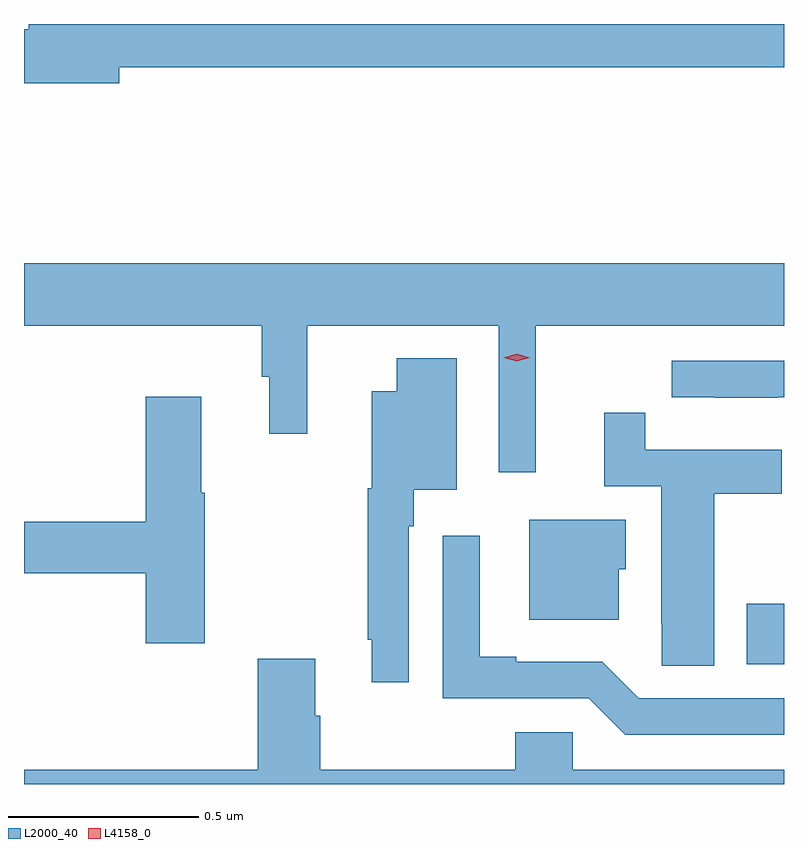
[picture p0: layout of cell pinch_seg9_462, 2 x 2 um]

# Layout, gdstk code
import gdstk
lib = gdstk.Library(unit=1e-6, precision=1e-09)
def R(c, l, rs):  # rectangles x0, y0, x1, y1
    for r in rs: c.add(gdstk.rectangle(r[:2], r[2:], *l))
def P(c, l, *ps):  # polygons
    for p in ps: c.add(gdstk.Polygon(p, *l))
L2000_40 = (2000, 40)
L4158_0 = (4158, 0)

pinch_seg9_462 = lib.new_cell('pinch_seg9_462')
R(pinch_seg9_462, L2000_40, [(147.395,1196.861,147.493,1197.021)])
P(pinch_seg9_462, L2000_40, [(145.744,1198.432),(147.493,1198.432),(147.493,1198.546),(145.505,1198.546),(145.505,1198.532),(145.493,1198.532),(145.493,1198.39),(145.744,1198.39)],
  [(146.84,1197.752),(147.493,1197.752),(147.493,1197.916),(145.493,1197.916),(145.493,1197.752),(146.119,1197.752),(146.119,1197.618),(146.138,1197.618),(146.138,1197.468),(146.238,1197.468),(146.238,1197.752),(146.742,1197.752),(146.742,1197.366),(146.84,1197.366)],
  [(146.505,1197.224),(146.518,1197.224),(146.518,1197.32),(146.632,1197.32),(146.632,1197.667),(146.474,1197.667),(146.474,1197.58),(146.408,1197.58),(146.408,1197.324),(146.397,1197.324),(146.397,1196.926),(146.408,1196.926),(146.408,1196.814),(146.505,1196.814)],
  [(147.476,1197.564),(147.493,1197.564),(147.493,1197.66),(147.198,1197.66),(147.198,1197.564),(147.31,1197.564),(147.31,1197.563),(147.476,1197.563)],
  [(145.968,1197.313),(145.96,1197.313),(145.96,1197.565),(145.814,1197.565),(145.814,1197.236),(145.493,1197.236),(145.493,1197.1),(145.814,1197.1),(145.814,1196.916),(145.968,1196.916)],
  [(147.31,1197.31),(147.487,1197.31),(147.487,1197.426),(147.128,1197.426),(147.128,1197.523),(147.02,1197.523),(147.02,1197.33),(147.17,1197.33),(147.17,1196.968),(147.171,1196.968),(147.171,1196.857),(147.31,1196.857)],
  [(147.058,1197.111),(147.076,1197.111),(147.076,1197.241),(146.822,1197.241),(146.822,1196.978),(147.058,1196.978)],
  [(147.493,1196.772),(147.111,1196.772),(147.015,1196.868),(146.788,1196.868),(146.788,1196.881),(146.692,1196.881),(146.692,1197.199),(146.595,1197.199),(146.595,1196.772),(146.979,1196.772),(147.075,1196.676),(147.493,1196.676)],
  [(147.493,1196.584),(146.937,1196.584),(146.937,1196.682),(146.786,1196.682),(146.786,1196.584),(146.273,1196.584),(146.273,1196.726),(146.26,1196.726),(146.26,1196.875),(146.108,1196.875),(146.108,1196.584),(145.493,1196.584),(145.493,1196.546),(147.493,1196.546)])
P(pinch_seg9_462, L4158_0, [(146.79,1197.658),(146.755,1197.668),(146.755,1197.668),(146.755,1197.668),(146.79,1197.678),(146.824,1197.668),(146.824,1197.668),(146.824,1197.668)])

lib.write_gds('pinch_seg9_462.gds')
